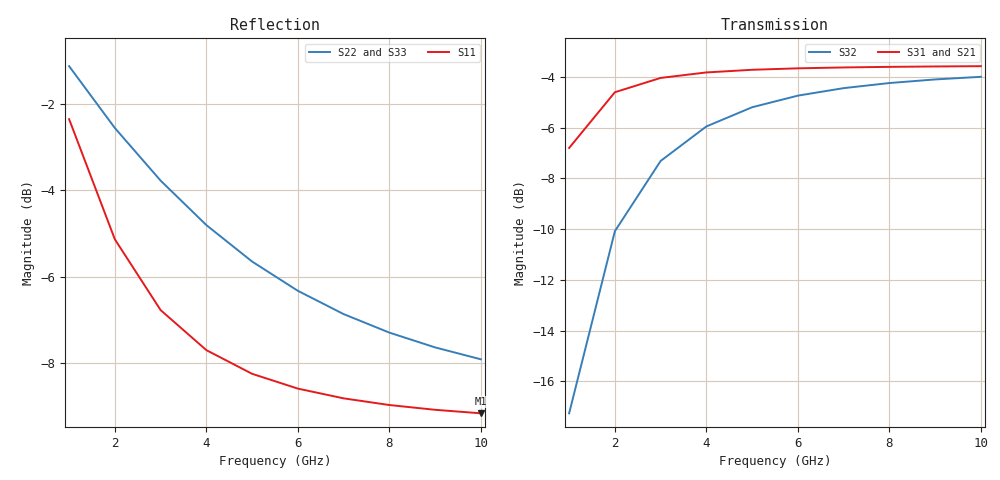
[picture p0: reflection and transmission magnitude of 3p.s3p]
! AWR Design Environment (7062) Tue May 19 18:09:41 2015
! Simulator: Linear circuit simulator
! Ports: 3, Freqs: 10
# GHz S MA R 50
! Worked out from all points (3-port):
!   10 points, 1 GHz to 10 GHz, reference 50 ohm
!   strongest paths, dB at 1 GHz, 3 GHz, 6 GHz, 8 GHz, 10 GHz:
!     S31: -6.8, -4.0, -3.7, -3.6, -3.6
!     S21: -6.8, -4.0, -3.7, -3.6, -3.6
!     S32: -17.3, -7.3, -4.7, -4.2, -4.0
!   lowest |S11| = -9.2 dB at 10 GHz (marker M1), VSWR 2.07, Z = 25 - j7.96 ohm
!   |S11| at or under -10 dB: nowhere
1  0.7628 -60.7  0.4572 46.7  0.4572 46.7
   0.4572 46.7  0.8787 -31.0  0.137 119.3
   0.4572 46.7  0.137 119.3  0.8787 -31.0
2  0.5535 -94.2  0.5889 27.9  0.5889 27.9
   0.5889 27.9  0.745 -52.2  0.3133 85.8
   0.5889 27.9  0.3133 85.8  0.745 -52.2
3  0.4582 -113.8  0.6285 19.5  0.6285 19.5
   0.6285 19.5  0.6474 -68.9  0.4311 66.2
   0.6285 19.5  0.4311 66.2  0.6474 -68.9
4  0.4118 -126.6  0.6444 14.9  0.6444 14.9
   0.6444 14.9  0.5749 -82.4  0.5042 53.4
   0.6444 14.9  0.5042 53.4  0.5749 -82.4
5  0.3865 -135.5  0.6521 12.0  0.6521 12.0
   0.6521 12.0  0.5216 -93.4  0.5501 44.5
   0.6521 12.0  0.5501 44.5  0.5216 -93.4
6  0.3716 -142.0  0.6565 10.0  0.6565 10.0
   0.6565 10.0  0.4824 -102.4  0.5799 38.0
   0.6565 10.0  0.5799 38.0  0.4824 -102.4
7  0.362 -146.9  0.6591 8.6  0.6591 8.6
   0.6591 8.6  0.4533 -109.9  0.6 33.1
   0.6591 8.6  0.6 33.1  0.4533 -109.9
8  0.3556 -150.8  0.6609 7.6  0.6609 7.6
   0.6609 7.6  0.4315 -116.3  0.6141 29.3
   0.6609 7.6  0.6141 29.3  0.4315 -116.3
9  0.3511 -153.8  0.6621 6.7  0.6621 6.7
   0.6621 6.7  0.4148 -121.6  0.6242 26.2
   0.6621 6.7  0.6242 26.2  0.4148 -121.6
10  0.3479 -156.3  0.663 6.1  0.663 6.1
    0.663 6.1  0.4018 -126.3  0.6317 23.7
    0.663 6.1  0.6317 23.7  0.4018 -126.3
